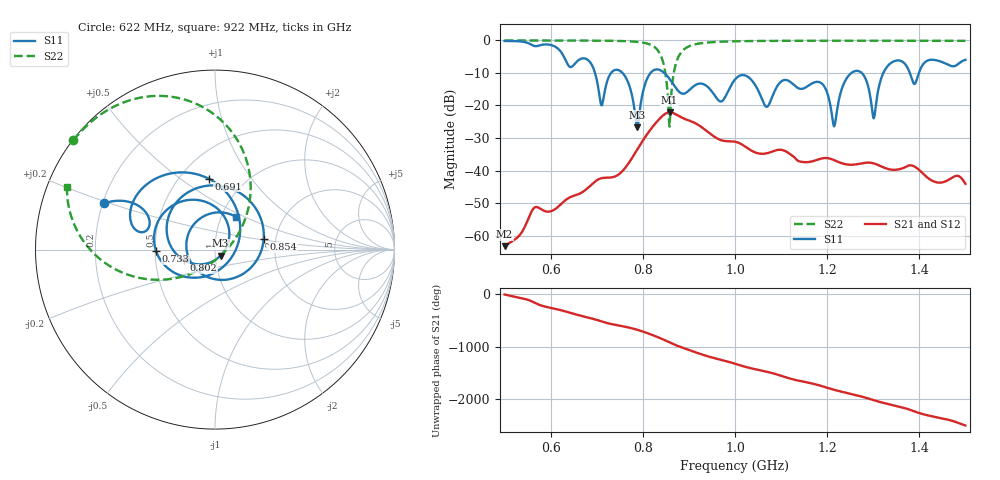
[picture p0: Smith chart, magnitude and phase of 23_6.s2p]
! TOUCHSTONE file generated by CST MICROWAVE STUDIO
! Date and time: Tue Nov 24 13:43:56 2020
! Project name: Scenario_1_Planar_Body_Tissue_Out_of_Line.cst
! Parameters = {dy1=34.6; L_HA=400; Ltissue=700; MT=2.54; Rad_Dielectric=30; Rad_Lower=7.3; Rad_Upper=30; Wtissue=700; a_HA=580; a_WG=246; b_HA=500; b_WG=121; c_HA=0; c_WG=187; d_feed=85; dx1=1039; h_feed=15; h_lower=18; h_upper=40; hfat=3; hgap=25; hmuscle=50; hskin=1.5}
! Header version: 2018
! Port assignment regex: !\s*Touchstone port\s*([0-9]+)\s*=\s*(CST MWS port|CST DS port)\s*([0-9]+|Zmin|Zmax)\s*\(\"(.*)\"\)(\s*mode\s*([0-9]+))?.*
! Touchstone port assignment:
! Touchstone port 1 = CST MWS port 1 ("")
! Touchstone port 2 = CST MWS port 2 ("")
# GHz S DB R 50
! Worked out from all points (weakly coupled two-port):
!   1003 points, 500 MHz to 1.5 GHz, reference 50 ohm
!   highest |S21| = -22.12 dB at 858 MHz (marker M1); lowest = -63.3 dB at 500 MHz (marker M2)
!   lowest |S11| = -26.7 dB at 788 MHz (marker M3), VSWR 1.10, Z = 53.1 - j3.61 ohm
!   |S11| at or under -10 dB: 755.9 MHz to 816.6 MHz (60.8 MHz wide, 7.73 % of centre); 846.5 MHz to 1.253 GHz (406.2 MHz wide, 38.7 % of centre); 1.275 GHz to 1.322 GHz (46.9 MHz wide, 3.61 % of centre) (the widest 3 of 5)
!   |S22| runs from -26.5 to 0.0 dB; largest |S21 - S12| = 6.8e-06
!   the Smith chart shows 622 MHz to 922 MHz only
!   S11 on the Smith chart (normalised r, x): 622 MHz: 0.20, +0.19; 691 MHz: 0.69, +0.64; 733 MHz: 0.51, -0.01; 802 MHz: 0.70, -0.09; 854 MHz: 1.73, +0.23; 922 MHz: 1.17, +0.45
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0.5  -0.16 -121.6  -63.27 -16.4  -63.27 -16.4  -0.01 151.1
0.622  -3.48 157.4  -50.41 48.0  -50.41 48.0  -0.02 142.4
0.667  -5.57 151.5  -46.80 -59.6  -46.80 -59.6  -0.04 138.4
0.691  -8.02 95.2  -44.03 -113.3  -44.03 -113.3  -0.06 135.9
0.711  -19.95 -46.8  -42.34 -167.2  -42.34 -167.2  -0.08 133.5
0.733  -9.68 -178.4  -42.11 143.0  -42.11 143.0  -0.12 130.4
0.788  -26.75 -47.5  -33.52 36.9  -33.52 36.9  -0.45 117.7
0.802  -14.80 -160.9  -30.35 -2.2  -30.35 -2.2  -0.71 111.7
0.834  -8.97 84.2  -24.44 -107.6  -24.44 -107.6  -3.36 83.4
0.854  -11.12 12.5  -22.21 174.5  -22.21 174.5  -16.91 31.5
0.858  -11.83 -2.8  -22.12 158.2  -22.12 158.2  -26.51 -59.7
0.878  -15.69 -91.5  -23.22 83.9  -23.22 83.9  -4.85 -169.3
0.922  -13.29 57.5  -26.13 -51.9  -26.13 -51.9  -0.96 157.1
1  -12.01 57.3  -31.15 115.3  -31.15 115.3  -0.27 140.2
1.069  -20.42 146.9  -34.70 -37.0  -34.70 -37.0  -0.14 132.5
1.118  -12.57 -84.2  -34.80 -162.2  -34.80 -162.2  -0.11 128.1
1.167  -13.24 72.4  -37.21 100.9  -37.21 100.9  -0.10 124.2
1.215  -26.39 -146.3  -36.81 -18.2  -36.81 -18.2  -0.09 120.5
1.27  -9.52 7.5  -37.94 -134.2  -37.94 -134.2  -0.09 116.3
1.301  -23.96 11.8  -37.81 145.4  -37.81 145.4  -0.08 114.0
1.334  -7.48 24.8  -39.60 69.3  -39.60 69.3  -0.09 111.5
1.5  -5.97 -42.6  -44.09 26.9  -44.09 26.9  -0.13 97.9
